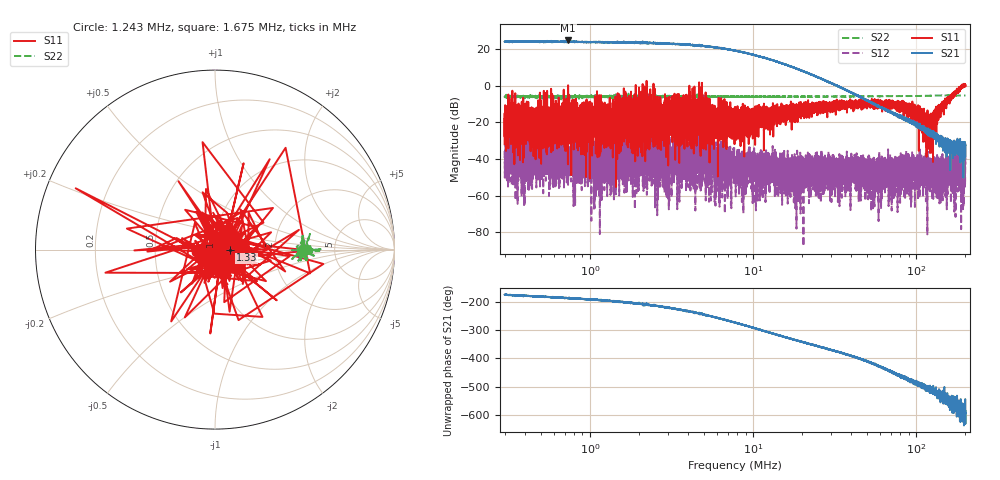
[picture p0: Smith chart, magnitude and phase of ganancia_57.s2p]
# Hz S DB R 50
! CMT, M5065, 19127446, 24.2.4/2
! Date: 11/1/2024 3:48:05 PM
! Data: Format (Calibration Info)
! Freq	S11:dB/Ang(F2)	S21:dB/Ang(F2)	S12:dB/Ang(F2)	S22:dB/Ang(F2)
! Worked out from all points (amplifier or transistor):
!   9000 points, 300 kHz to 200 MHz, reference 50 ohm
!   highest |S21| = 24.7 dB at 734.9 kHz (marker M1)
!   |S21| within 3 dB of that: start of sweep to 4.368 MHz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
!   unconditionally stable (mu >= 1): 5.634 MHz to 188.8 MHz; 189 MHz to 190.2 MHz; 193.2895 MHz to 194.0539 MHz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
!   at 886.8 kHz: K = 2.27, MAG = 25.3 dB, |S12| = -39.3 dB
!   at 7.749 MHz: K = 4.37, MAG = 20.4 dB, |S12| = -40.4 dB
!   at 200 MHz: K = 102.42, MAG = -17.8 dB, |S12| = -43.1 dB
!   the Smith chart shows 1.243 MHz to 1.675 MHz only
!   S11 on the Smith chart (normalised r, x): 1.243 MHz: 0.81, -0.03; 1.33 MHz: 1.19, -0.01; 1.675 MHz: 0.83, -0.07
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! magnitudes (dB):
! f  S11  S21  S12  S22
! 300 kHz  -31.9  24.0  -35.6  -6.2
! 316.9 kHz  -23.3  24.0  -42.7  -6.0
! 734.9 kHz  0.2  24.7  -30.5  -6.2
! 886.8 kHz  -26.5  23.9  -39.3  -6.0
! 1.243 MHz  -19.3  23.8  -37.6  -6.2
! 1.33 MHz  -21.3  23.7  -48.5  -6.0
! 1.675 MHz  -20.2  23.6  -37.4  -6.2
! 2.32 MHz  -24.2  23.3  -21.6  -6.0
! 2.621 MHz  -11.1  23.3  -27.2  -6.2
! 4.334 MHz  -22.9  22.1  -38.8  -6.1
! 4.589 MHz  -13.0  21.8  -38.6  -6.1
! 6.043 MHz  -23.0  20.7  -49.1  -6.0
! 6.492 MHz  -25.2  20.3  -37.3  -6.2
! 7.749 MHz  -15.6  19.1  -40.4  -6.0
! 22.91 MHz  -13.6  6.0  -38.7  -5.9
! 47.62 MHz  -8.5  -7.2  -46.1  -5.8
! 55.83 MHz  -10.9  -10.5  -46.5  -5.8
! 67.71 MHz  -11.2  -13.7  -46.2  -5.7
! 86.44 MHz  -11.0  -18.4  -54.4  -5.6
! 119.3 MHz  -20.3  -25.3  -41.4  -5.5
! 165.3 MHz  -6.2  -30.9  -46.2  -5.3
! 200 MHz  -0.2  -32.5  -43.1  -5.4
